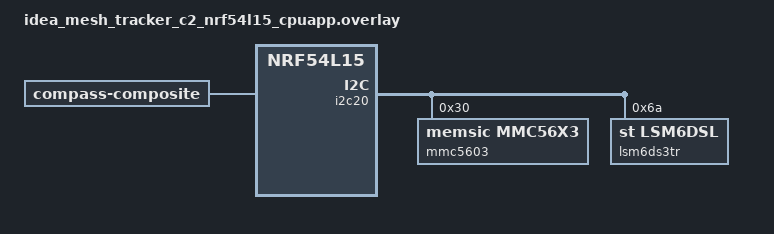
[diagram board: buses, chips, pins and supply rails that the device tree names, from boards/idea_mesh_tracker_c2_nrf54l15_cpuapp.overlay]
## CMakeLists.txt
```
# SPDX-FileCopyrightText: FoBE Studio
# SPDX-License-Identifier: Apache-2.0

cmake_minimum_required(VERSION 3.20.0)

find_package(Zephyr REQUIRED HINTS $ENV{ZEPHYR_BASE})
project(compass_composite)

FILE(GLOB app_sources src/*.c)
target_sources(app PRIVATE ${app_sources})
```

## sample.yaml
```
# SPDX-FileCopyrightText: FoBE Studio
# SPDX-License-Identifier: Apache-2.0

sample:
  name: compass_composite
  description: Compass composite sensor sample
common:
  tags:
    - sensor
    - compass_composite
  harness: keyboard
tests:
  sample.drivers.sensor.composite.compass_composite:
    integration_platforms:
      - mesh_probe_r2/nrf54l15/cpuapp
```

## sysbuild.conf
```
# SPDX-FileCopyrightText: FoBE Studio
# SPDX-License-Identifier: Apache-2.0

SB_CONFIG_BOOTLOADER_MCUBOOT=y
SB_CONFIG_MERGED_HEX_FILES=y
SB_CONFIG_MCUBOOT_MODE_SINGLE_APP=y
SB_CONFIG_BOOT_SIGNATURE_TYPE_NONE=y
```

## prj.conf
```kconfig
# SPDX-FileCopyrightText: FoBE Studio
# SPDX-License-Identifier: Apache-2.0

# Logging
CONFIG_LOG=y
CONFIG_LOG_MODE_IMMEDIATE=y

# This sample performs sensor fusion + frequent logging in main thread.
# Increase main stack to avoid runtime stack overflow on smaller defaults.
CONFIG_MAIN_STACK_SIZE=4096

# Sensor framework
CONFIG_SHELL=y
CONFIG_SHELL_STACK_SIZE=4096
CONFIG_SENSOR_SHELL=y
CONFIG_SENSOR=y
CONFIG_COMPASS_COMPOSITE=y

CONFIG_SENSOR_LOG_LEVEL_DBG=y
```

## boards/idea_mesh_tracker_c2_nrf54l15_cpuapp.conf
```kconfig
# Peripherals
CONFIG_GPIO=y
CONFIG_I2C=y

# Power Management
CONFIG_PM_DEVICE=y
CONFIG_PM_DEVICE_RUNTIME=y
CONFIG_POWER_DOMAIN=y
CONFIG_PM_DEVICE_POWER_DOMAIN=y
CONFIG_PM_DEVICE_RUNTIME_ASYNC=y

# Preserve the provisioned MCUboot image and place this sample in slot0.
CONFIG_BOOTLOADER_MCUBOOT=y
CONFIG_MCUBOOT_GENERATE_UNSIGNED_IMAGE=y
CONFIG_MCUBOOT_BOOTLOADER_MODE_SINGLE_APP=y

# Match the 50 Hz MMC5603 stream (LSM6DSL value index: 3 => 52 Hz).
CONFIG_LSM6DSL_ACCEL_ODR=3
CONFIG_LSM6DSL_GYRO_ODR=3
```

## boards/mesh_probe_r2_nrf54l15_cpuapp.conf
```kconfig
# SPDX-FileCopyrightText: FoBE Studio
# SPDX-License-Identifier: Apache-2.0

# Peripherals
CONFIG_GPIO=y
CONFIG_I2C=y

# Power Management
CONFIG_PM_DEVICE=y
CONFIG_PM_DEVICE_RUNTIME=y
CONFIG_POWER_DOMAIN=y
CONFIG_PM_DEVICE_POWER_DOMAIN=y
CONFIG_PM_DEVICE_RUNTIME_ASYNC=y

# Preserve the provisioned MCUboot image and place this sample in slot0.
CONFIG_BOOTLOADER_MCUBOOT=y
CONFIG_MCUBOOT_GENERATE_UNSIGNED_IMAGE=y
CONFIG_MCUBOOT_BOOTLOADER_MODE_SINGLE_APP=y

# Match the 50 Hz MMC5603 stream (LSM6DSL value index: 3 => 52 Hz).
CONFIG_LSM6DSL_ACCEL_ODR=3
CONFIG_LSM6DSL_GYRO_ODR=3
```

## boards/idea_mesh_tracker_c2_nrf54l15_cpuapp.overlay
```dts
/*
 * Copyright (c) 2026 FoBE Studio
 *
 * SPDX-License-Identifier: Apache-2.0
 */

#include <dt-bindings/sensor/sensor_channel.h>

/ {
	compass: compass {
		compatible = "zephyr,compass-composite";
		accel-source = <&lsm6ds3tr>;
		gyro-source = <&lsm6ds3tr>;
		magn-source = <&mmc5603>;
		accel-channel = <SENSOR_CHAN_ACCEL_XYZ>;
		gyro-channel = <SENSOR_CHAN_GYRO_XYZ>;
		magn-channel = <SENSOR_CHAN_MAGN_XYZ>;
		declination-milli-deg = <0>;
		gyro-fusion-alpha-milli = <400>;
		/* C2 FLU frame: +X front, +Y left, +Z up; both sensors are on the back. */
		accel-axis-remap = <1 0 2>;
		accel-axis-sign = <1 1 (-1)>;
		magn-axis-remap = <1 0 2>;
		magn-axis-sign = <1 1 (-1)>;
		status = "okay";
	};
};

&i2c20 {
	mmc5603: mmc5603@30 {
		compatible = "memsic,mmc56x3";
		reg = <0x30>;
		magn-odr = <0>;
		auto-self-reset;
		power-domains = <&peripheral_power>;
	};

	lsm6ds3tr: lsm6ds3tr@6a {
		compatible = "st,lsm6dsl";
		reg = <0x6a>;
		power-domains = <&peripheral_power>;
	};
};

/* Match the C2 mbs_client/MCUboot flash-map ABI. */
&cpuapp_rram {
	/delete-node/ partitions;

	partitions {
		compatible = "fixed-partitions";
		#address-cells = <1>;
		#size-cells = <1>;
		ranges;

		boot_partition: partition@0 {
			label = "mcuboot";
			reg = <0x0 DT_SIZE_K(128)>;
		};

		slot0_partition: partition@20000 {
			label = "image-0";
			reg = <0x20000 DT_SIZE_K(1024)>;
		};

		storage_partition: partition@120000 {
			label = "storage";
			reg = <0x120000 DT_SIZE_K(128)>;
		};

		extra_partition: partition@140000 {
			label = "extra";
			reg = <0x140000 DT_SIZE_K(148)>;
		};
	};
};
```

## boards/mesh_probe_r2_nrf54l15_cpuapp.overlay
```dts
/*
 * Copyright (c) 2026 FoBE Studio
 *
 * SPDX-License-Identifier: Apache-2.0
 */

#include <dt-bindings/sensor/sensor_channel.h>

/ {
	compass: compass {
		compatible = "zephyr,compass-composite";
		accel-source = <&lsm6ds3tr>;
		gyro-source = <&lsm6ds3tr>;
		magn-source = <&mmc5603>;
		accel-channel = <SENSOR_CHAN_ACCEL_XYZ>;
		gyro-channel = <SENSOR_CHAN_GYRO_XYZ>;
		magn-channel = <SENSOR_CHAN_MAGN_XYZ>;
		declination-milli-deg = <0>;
		gyro-fusion-alpha-milli = <400>;
		/* Mesh Probe R2 FLU frame: +X front, +Y left, +Z up; both sensors are on the back. */
		accel-axis-remap = <1 0 2>;
		accel-axis-sign = <1 1 (-1)>;
		magn-axis-remap = <1 0 2>;
		magn-axis-sign = <1 1 (-1)>;
		status = "okay";
	};
};

&i2c20 {
	mmc5603: mmc5603@30 {
		compatible = "memsic,mmc56x3";
		reg = <0x30>;
		magn-odr = <0>;
		auto-self-reset;
		power-domains = <&peripheral_power>;
	};

	lsm6ds3tr: lsm6ds3tr@6a {
		compatible = "st,lsm6dsl";
		reg = <0x6a>;
		power-domains = <&peripheral_power>;
	};
};

/* Match the Mesh Probe R2 mbs_client/MCUboot flash-map ABI. */
&cpuapp_rram {
	/delete-node/ partitions;

	partitions {
		compatible = "fixed-partitions";
		#address-cells = <1>;
		#size-cells = <1>;
		ranges;

		boot_partition: partition@0 {
			label = "mcuboot";
			reg = <0x0 DT_SIZE_K(128)>;
		};

		slot0_partition: partition@20000 {
			label = "image-0";
			reg = <0x20000 DT_SIZE_K(1024)>;
		};

		storage_partition: partition@120000 {
			label = "storage";
			reg = <0x120000 DT_SIZE_K(128)>;
		};

		extra_partition: partition@140000 {
			label = "extra";
			reg = <0x140000 DT_SIZE_K(148)>;
		};
	};
};
```

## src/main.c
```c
/*
 * Copyright (c) 2026 FoBE Studio
 *
 * SPDX-License-Identifier: Apache-2.0
 */

#include <stdbool.h>
#include <stdint.h>

#include "compass_shell.h"

#include <zephyr/device.h>
#include <zephyr/devicetree.h>
#include <zephyr/drivers/sensor.h>
#include <drivers/sensor/compass_composite.h>
#include <zephyr/init.h>
#include <zephyr/kernel.h>
#include <zephyr/logging/log.h>
#include <zephyr/pm/device_runtime.h>
#include <zephyr/sys/printk.h>

LOG_MODULE_REGISTER(compass_composite_sample, LOG_LEVEL_INF);

#define COMPASS_NODE DT_NODELABEL(compass)
#define COMPASS_PD_NODE DT_NODELABEL(peripheral_power)

#if DT_NODE_HAS_STATUS(COMPASS_PD_NODE, okay) && defined(CONFIG_PM_DEVICE_RUNTIME)
#define COMPASS_PD_BOOTSTRAP_INIT_PRIORITY 80

static int compass_sample_power_bootstrap_init(void)
{
	const struct device *pd = DEVICE_DT_GET(COMPASS_PD_NODE);
	int rc;

	if (!device_is_ready(pd)) {
		return -ENODEV;
	}

	rc = pm_device_runtime_get(pd);
	if (rc < 0 && rc != -ENOTSUP && rc != -ENOSYS) {
		return rc;
	}

	return 0;
}

SYS_INIT(compass_sample_power_bootstrap_init, POST_KERNEL,
	 COMPASS_PD_BOOTSTRAP_INIT_PRIORITY);
#endif

#if !DT_NODE_HAS_STATUS(COMPASS_NODE, okay)
#error "No compass node found. Check board overlay for zephyr,compass-composite node label compass"
#endif

static const char *cal_hint_to_str(int32_t v)
{
	switch (v) {
	case COMPASS_CAL_HINT_NONE:
		return "none";
	case COMPASS_CAL_HINT_FIGURE_EIGHT:
		return "figure-8";
	case COMPASS_CAL_HINT_KEEP_LEVEL:
		return "keep-level";
	default:
		return "unknown";
	}
}

static const char *accuracy_to_str(int32_t v)
{
	switch (v) {
	case COMPASS_ACCURACY_UNRELIABLE:
		return "unreliable";
	case COMPASS_ACCURACY_LOW:
		return "low";
	case COMPASS_ACCURACY_MEDIUM:
		return "medium";
	case COMPASS_ACCURACY_HIGH:
		return "high";
	default:
		return "unknown";
	}
}

static void sensor_value_snprint(char *buf, size_t len, const struct sensor_value *v)
{
	int64_t micro = sensor_value_to_micro(v);
	bool neg = (micro < 0);
	uint64_t abs_micro = (uint64_t)(neg ? -micro : micro);

	uint64_t ip = abs_micro / 1000000ULL;
	uint64_t fp = abs_micro % 1000000ULL;

	(void)snprintk(buf, len, "%s%llu.%06llu", neg ? "-" : "", (unsigned long long)ip,
		       (unsigned long long)fp);
}

static void sensor_value_or_na_snprint(char *buf, size_t len, const struct sensor_value *v, int rc)
{
	if (rc == 0) {
		sensor_value_snprint(buf, len, v);
	} else {
		(void)snprintk(buf, len, "n/a");
	}
}

int main(void)
{
	const struct device *compass = DEVICE_DT_GET(COMPASS_NODE);
	const enum sensor_channel magn_axis_channels[3] = {
		SENSOR_CHAN_MAGN_X,
		SENSOR_CHAN_MAGN_Y,
		SENSOR_CHAN_MAGN_Z,
	};
	struct sensor_value heading = {0};
	struct sensor_value declination = {0};
	struct sensor_value mount_offset = {0};
	struct sensor_value fusion_alpha = {0};
	struct sensor_value cal_hint = {0};
	struct sensor_value accuracy = {0};
	struct sensor_value bias[3] = {0};
	struct sensor_value scale[3] = {0};
	struct sensor_value bias_est[3] = {0};
	struct sensor_value scale_est[3] = {0};
	int bias_est_rc[3] = {0};
	int scale_est_rc[3] = {0};
	char heading_buf[24];
	char decl_buf[24];
	char mount_buf[24];
	char alpha_buf[24];
	char bias_buf[3][24];
	char scale_buf[3][24];
	char bias_est_buf[3][24];
	char scale_est_buf[3][24];
	uint32_t sleep_ms;
	int rc;

	LOG_INF("Compass composite sample started");
	LOG_INF("Build timestamp: " __DATE__ " " __TIME__);

	if (!device_is_ready(compass)) {
		LOG_ERR("Compass device not ready: %s", compass->name);
		return -ENODEV;
	}

	compass_sample_shell_bind_device(compass);
	LOG_INF("Compass device ready: %s", compass->name);
	LOG_INF("Shell commands: compass show | compass reset all | compass set ... | "
		"compass stream on <ms>");

	while (1) {
		if (!compass_sample_stream_enabled_get()) {
			k_sleep(K_MSEC(100));
			continue;
		}

		rc = sensor_sample_fetch(compass);
		if (rc != 0) {
			LOG_ERR("sample_fetch failed: %d", rc);
			k_sleep(K_SECONDS(1));
			continue;
		}

		rc = sensor_channel_get(compass, SENSOR_CHAN_COMPASS_HEADING, &heading);
		if (rc != 0) {
			LOG_ERR("heading get failed: %d", rc);
			k_sleep(K_SECONDS(1));
			continue;
		}

		(void)sensor_attr_get(compass, SENSOR_CHAN_COMPASS_HEADING,
				     SENSOR_ATTR_COMPASS_DECLINATION, &declination);
		(void)sensor_attr_get(compass, SENSOR_CHAN_COMPASS_HEADING,
				     SENSOR_ATTR_COMPASS_MOUNT_OFFSET, &mount_offset);
		(void)sensor_attr_get(compass, SENSOR_CHAN_COMPASS_HEADING,
				     SENSOR_ATTR_COMPASS_FUSION_ALPHA, &fusion_alpha);

		rc = sensor_attr_get(compass, SENSOR_CHAN_COMPASS_HEADING,
				     SENSOR_ATTR_COMPASS_CAL_HINT, &cal_hint);
		if (rc != 0) {
			cal_hint.val1 = -1;
			cal_hint.val2 = 0;
		}

		rc = sensor_attr_get(compass, SENSOR_CHAN_COMPASS_HEADING,
				     SENSOR_ATTR_COMPASS_ACCURACY, &accuracy);
		if (rc != 0) {
			accuracy.val1 = -1;
			accuracy.val2 = 0;
		}

		for (int i = 0; i < 3; i++) {
			enum sensor_channel channel = magn_axis_channels[i];

			(void)sensor_attr_get(compass, channel, SENSOR_ATTR_COMPASS_MAG_BIAS, &bias[i]);
			(void)sensor_attr_get(compass, channel, SENSOR_ATTR_COMPASS_MAG_SCALE, &scale[i]);
			bias_est_rc[i] =
				sensor_attr_get(compass, channel, SENSOR_ATTR_COMPASS_MAG_BIAS_EST, &bias_est[i]);
			scale_est_rc[i] =
				sensor_attr_get(compass, channel, SENSOR_ATTR_COMPASS_MAG_SCALE_EST,
						&scale_est[i]);
		}

		sensor_value_snprint(heading_buf, sizeof(heading_buf), &heading);
		sensor_value_snprint(decl_buf, sizeof(decl_buf), &declination);
		sensor_value_snprint(mount_buf, sizeof(mount_buf), &mount_offset);
		sensor_value_snprint(alpha_buf, sizeof(alpha_buf), &fusion_alpha);

		for (int i = 0; i < 3; i++) {
			sensor_value_snprint(bias_buf[i], sizeof(bias_buf[i]), &bias[i]);
			sensor_value_snprint(scale_buf[i], sizeof(scale_buf[i]), &scale[i]);
			sensor_value_or_na_snprint(bias_est_buf[i], sizeof(bias_est_buf[i]), &bias_est[i],
						  bias_est_rc[i]);
			sensor_value_or_na_snprint(scale_est_buf[i], sizeof(scale_est_buf[i]), &scale_est[i],
						   scale_est_rc[i]);
		}

		LOG_INF("heading=%s deg decl=%s deg mount=%s deg alpha=%s hint=%s(%d) accuracy=%s(%d) "
			"bias=[%s,%s,%s] scale=[%s,%s,%s] est_bias=[%s,%s,%s] est_scale=[%s,%s,%s]",
			heading_buf,
			decl_buf,
			mount_buf,
			alpha_buf,
			cal_hint_to_str(cal_hint.val1),
			cal_hint.val1,
			accuracy_to_str(accuracy.val1),
			accuracy.val1,
			bias_buf[0], bias_buf[1], bias_buf[2],
			scale_buf[0], scale_buf[1], scale_buf[2],
			bias_est_buf[0], bias_est_buf[1], bias_est_buf[2],
			scale_est_buf[0], scale_est_buf[1], scale_est_buf[2]);

		sleep_ms = compass_sample_stream_interval_ms_get();
		k_sleep(K_MSEC(sleep_ms));
	}

	return 0;
}
```

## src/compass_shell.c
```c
/*
 * Copyright (c) 2026 FoBE Studio
 *
 * SPDX-License-Identifier: Apache-2.0
 */

#include "compass_shell.h"

#include <errno.h>
#include <stdbool.h>
#include <stdlib.h>
#include <string.h>

#include <zephyr/devicetree.h>
#include <zephyr/drivers/sensor.h>
#include <drivers/sensor/compass_composite.h>
#include <zephyr/kernel.h>
#include <zephyr/sys/atomic.h>
#include <zephyr/sys/printk.h>
#include <zephyr/sys/util.h>

#if defined(CONFIG_SHELL)
#include <zephyr/shell/shell.h>
#endif

#define COMPASS_NODE DT_NODELABEL(compass)

#if !DT_NODE_HAS_STATUS(COMPASS_NODE, okay)
#error "No compass node found. Check board overlay for zephyr,compass-composite node label compass"
#endif

#define COMPASS_STREAM_INTERVAL_MS_DEFAULT 100U
#define COMPASS_STREAM_INTERVAL_MS_MIN     20U
#define COMPASS_STREAM_INTERVAL_MS_MAX     5000U

static const struct device *compass_shell_dev;
static atomic_t compass_stream_enabled = ATOMIC_INIT(1);
static atomic_t compass_stream_interval_ms =
	ATOMIC_INIT(COMPASS_STREAM_INTERVAL_MS_DEFAULT);

void compass_sample_shell_bind_device(const struct device *dev)
{
	compass_shell_dev = dev;
}

bool compass_sample_stream_enabled_get(void)
{
	return atomic_get(&compass_stream_enabled) != 0;
}

uint32_t compass_sample_stream_interval_ms_get(void)
{
	int32_t interval = atomic_get(&compass_stream_interval_ms);

	if (interval <= 0) {
		return COMPASS_STREAM_INTERVAL_MS_DEFAULT;
	}

	return (uint32_t)interval;
}

#if defined(CONFIG_SHELL)

struct compass_snapshot {
	struct sensor_value heading;
	struct sensor_value declination;
	struct sensor_value mount_offset;
	struct sensor_value fusion_alpha;
	struct sensor_value cal_hint;
	struct sensor_value accuracy;
	struct sensor_value bias[3];
	struct sensor_value scale[3];
	struct sensor_value bias_est[3];
	struct sensor_value scale_est[3];
	int bias_est_rc[3];
	int scale_est_rc[3];
};

static const char *cal_hint_to_str(int32_t v)
{
	switch (v) {
	case COMPASS_CAL_HINT_NONE:
		return "none";
	case COMPASS_CAL_HINT_FIGURE_EIGHT:
		return "figure-8";
	case COMPASS_CAL_HINT_KEEP_LEVEL:
		return "keep-level";
	default:
		return "unknown";
	}
}

static const char *accuracy_to_str(int32_t v)
{
	switch (v) {
	case COMPASS_ACCURACY_UNRELIABLE:
		return "unreliable";
	case COMPASS_ACCURACY_LOW:
		return "low";
	case COMPASS_ACCURACY_MEDIUM:
		return "medium";
	case COMPASS_ACCURACY_HIGH:
		return "high";
	default:
		return "unknown";
	}
}

static const struct device *compass_resolve_device(void)
{
	const struct device *dev = compass_shell_dev;

	if (dev == NULL) {
		dev = DEVICE_DT_GET(COMPASS_NODE);
	}

	if (!device_is_ready(dev)) {
		return NULL;
	}

	return dev;
}

static enum sensor_channel axis_to_channel(int axis)
{
	static const enum sensor_channel channels[3] = {
		SENSOR_CHAN_MAGN_X,
		SENSOR_CHAN_MAGN_Y,
		SENSOR_CHAN_MAGN_Z,
	};

	return channels[axis];
}

static int parse_axis(const char *axis_str)
{
	if ((axis_str == NULL) || (strlen(axis_str) != 1U)) {
		return -EINVAL;
	}

	switch (axis_str[0]) {
	case 'x':
	case 'X':
		return 0;
	case 'y':
	case 'Y':
		return 1;
	case 'z':
	case 'Z':
		return 2;
	default:
		return -EINVAL;
	}
}

static int parse_double_arg(const char *str, double *out)
{
	char *endptr;
	double value;

	if ((str == NULL) || (out == NULL)) {
		return -EINVAL;
	}

	value = strtod(str, &endptr);
	if ((endptr == str) || (*endptr != '\0')) {
		return -EINVAL;
	}

	*out = value;
	return 0;
}

static int set_heading_attr_from_double(const struct device *dev, enum sensor_attribute attr,
					double value)
{
	struct sensor_value sensor_val = {0};
	int rc;

	rc = sensor_value_from_double(&sensor_val, value);
	if (rc != 0) {
		return rc;
	}

	return sensor_attr_set(dev, SENSOR_CHAN_COMPASS_HEADING, attr, &sensor_val);
}

static int set_magn_attr_from_double(const struct device *dev, enum sensor_attribute attr, int axis,
				     double value)
{
	struct sensor_value sensor_val = {0};
	int rc;

	rc = sensor_value_from_double(&sensor_val, value);
	if (rc != 0) {
		return rc;
	}

	return sensor_attr_set(dev, axis_to_channel(axis), attr, &sensor_val);
}

static void sensor_value_snprint(char *buf, size_t len, const struct sensor_value *v)
{
	int64_t micro = sensor_value_to_micro(v);
	bool neg = (micro < 0);
	uint64_t abs_micro = (uint64_t)(neg ? -micro : micro);
	uint64_t ip = abs_micro / 1000000ULL;
	uint64_t fp = abs_micro % 1000000ULL;

	(void)snprintk(buf, len, "%s%llu.%06llu", neg ? "-" : "", (unsigned long long)ip,
		       (unsigned long long)fp);
}

static void sensor_value_or_na_snprint(char *buf, size_t len, const struct sensor_value *v, int rc)
{
	if (rc == 0) {
		sensor_value_snprint(buf, len, v);
	} else {
		(void)snprintk(buf, len, "n/a");
	}
}

static int compass_read_snapshot(const struct device *dev, struct compass_snapshot *snap,
				 bool fetch_sample)
{
	int rc;

	if ((dev == NULL) || (snap == NULL)) {
		return -EINVAL;
	}

	if (fetch_sample) {
		rc = sensor_sample_fetch(dev);
		if (rc != 0) {
			return rc;
		}
	}

	rc = sensor_channel_get(dev, SENSOR_CHAN_COMPASS_HEADING, &snap->heading);
	if (rc != 0) {
		return rc;
	}

	rc = sensor_attr_get(dev, SENSOR_CHAN_COMPASS_HEADING,
			     SENSOR_ATTR_COMPASS_DECLINATION, &snap->declination);
	if (rc != 0) {
		return rc;
	}

	rc = sensor_attr_get(dev, SENSOR_CHAN_COMPASS_HEADING,
			     SENSOR_ATTR_COMPASS_MOUNT_OFFSET, &snap->mount_offset);
	if (rc != 0) {
		return rc;
	}

	rc = sensor_attr_get(dev, SENSOR_CHAN_COMPASS_HEADING,
			     SENSOR_ATTR_COMPASS_FUSION_ALPHA, &snap->fusion_alpha);
	if (rc != 0) {
		return rc;
	}

	rc = sensor_attr_get(dev, SENSOR_CHAN_COMPASS_HEADING,
			     SENSOR_ATTR_COMPASS_CAL_HINT, &snap->cal_hint);
	if (rc != 0) {
		return rc;
	}

	rc = sensor_attr_get(dev, SENSOR_CHAN_COMPASS_HEADING,
			     SENSOR_ATTR_COMPASS_ACCURACY, &snap->accuracy);
	if (rc != 0) {
		return rc;
	}

	for (int i = 0; i < 3; i++) {
		enum sensor_channel channel = axis_to_channel(i);

		rc = sensor_attr_get(dev, channel, SENSOR_ATTR_COMPASS_MAG_BIAS, &snap->bias[i]);
		if (rc != 0) {
			return rc;
		}

		rc = sensor_attr_get(dev, channel, SENSOR_ATTR_COMPASS_MAG_SCALE, &snap->scale[i]);
		if (rc != 0) {
			return rc;
		}

		snap->bias_est_rc[i] = sensor_attr_get(dev, channel, SENSOR_ATTR_COMPASS_MAG_BIAS_EST,
						      &snap->bias_est[i]);
		snap->scale_est_rc[i] = sensor_attr_get(dev, channel, SENSOR_ATTR_COMPASS_MAG_SCALE_EST,
						       &snap->scale_est[i]);
	}

	return 0;
}

static void compass_print_snapshot(const struct shell *sh, const struct compass_snapshot *snap)
{
	char heading_buf[24];
	char decl_buf[24];
	char mount_buf[24];
	char alpha_buf[24];
	char bias_buf[3][24];
	char scale_buf[3][24];
	char bias_est_buf[3][24];
	char scale_est_buf[3][24];

	sensor_value_snprint(heading_buf, sizeof(heading_buf), &snap->heading);
	sensor_value_snprint(decl_buf, sizeof(decl_buf), &snap->declination);
	sensor_value_snprint(mount_buf, sizeof(mount_buf), &snap->mount_offset);
	sensor_value_snprint(alpha_buf, sizeof(alpha_buf), &snap->fusion_alpha);

	for (int i = 0; i < 3; i++) {
		sensor_value_snprint(bias_buf[i], sizeof(bias_buf[i]), &snap->bias[i]);
		sensor_value_snprint(scale_buf[i], sizeof(scale_buf[i]), &snap->scale[i]);
		sensor_value_or_na_snprint(bias_est_buf[i], sizeof(bias_est_buf[i]), &snap->bias_est[i],
					  snap->bias_est_rc[i]);
		sensor_value_or_na_snprint(scale_est_buf[i], sizeof(scale_est_buf[i]), &snap->scale_est[i],
					   snap->scale_est_rc[i]);
	}

	shell_print(sh,
		    "heading=%s deg decl=%s deg mount=%s deg alpha=%s hint=%s(%d) accuracy=%s(%d)",
		    heading_buf, decl_buf, mount_buf, alpha_buf,
		    cal_hint_to_str(snap->cal_hint.val1), snap->cal_hint.val1,
		    accuracy_to_str(snap->accuracy.val1), snap->accuracy.val1);
	shell_print(sh,
		    "active_bias=[%s %s %s] active_scale=[%s %s %s]",
		    bias_buf[0], bias_buf[1], bias_buf[2],
		    scale_buf[0], scale_buf[1], scale_buf[2]);
	shell_print(sh,
		    "est_bias=[%s %s %s] est_scale=[%s %s %s]",
		    bias_est_buf[0], bias_est_buf[1], bias_est_buf[2],
		    scale_est_buf[0], scale_est_buf[1], scale_est_buf[2]);
}

static int cmd_compass_show(const struct shell *sh, size_t argc, char **argv)
{
	const struct device *dev = compass_resolve_device();
	struct compass_snapshot snap = {0};
	int rc;

	ARG_UNUSED(argc);
	ARG_UNUSED(argv);

	if (dev == NULL) {
		shell_error(sh, "Compass device not ready");
		return -ENODEV;
	}

	rc = compass_read_snapshot(dev, &snap, true);
	if (rc != 0) {
		shell_error(sh, "Failed to read compass snapshot: %d", rc);
		return rc;
	}

	compass_print_snapshot(sh, &snap);
	shell_print(sh, "stream=%s interval_ms=%u",
		    compass_sample_stream_enabled_get() ? "on" : "off",
		    compass_sample_stream_interval_ms_get());

	return 0;
}

static int cmd_compass_dump(const struct shell *sh, size_t argc, char **argv)
{
	const struct device *dev = compass_resolve_device();
	struct compass_snapshot snap = {0};
	int rc;

	ARG_UNUSED(argc);
	ARG_UNUSED(argv);

	if (dev == NULL) {
		shell_error(sh, "Compass device not ready");
		return -ENODEV;
	}

	rc = compass_read_snapshot(dev, &snap, true);
	if (rc != 0) {
		shell_error(sh, "Failed to read compass snapshot: %d", rc);
		return rc;
	}

	shell_print(sh, "# Replay current runtime tuning:");
	shell_print(sh, "compass set decl %.6f", sensor_value_to_double(&snap.declination));
	shell_print(sh, "compass set mount %.6f", sensor_value_to_double(&snap.mount_offset));
	shell_print(sh, "compass set alpha %.6f", sensor_value_to_double(&snap.fusion_alpha));
	for (int i = 0; i < 3; i++) {
		char axis_name = (i == 0) ? 'x' : (i == 1) ? 'y' : 'z';
		bool estimate_available =
			snap.bias_est_rc[i] == 0 && snap.scale_est_rc[i] == 0;
		bool active_non_default = sensor_value_to_micro(&snap.bias[i]) != 0 ||
					  sensor_value_to_micro(&snap.scale[i]) != 1000000LL;

		if (!estimate_available && !active_non_default) {
			shell_print(sh, "# axis %c has no estimate; replay omitted", axis_name);
			continue;
		}

		shell_print(sh, "compass set bias %c %.6f", axis_name,
			    sensor_value_to_double(&snap.bias[i]));
		shell_print(sh, "compass set scale %c %.6f", axis_name,
			    sensor_value_to_double(&snap.scale[i]));
	}

	return 0;
}

static int cmd_compass_stream_on(const struct shell *sh, size_t argc, char **argv)
{
	char *endptr;
	unsigned long parsed;

	if (argc != 2U) {
		shell_error(sh, "Usage: compass stream on <ms>");
		return -EINVAL;
	}

	parsed = strtoul(argv[1], &endptr, 0);
	if ((endptr == argv[1]) || (*endptr != '\0')) {
		shell_error(sh, "Invalid interval: %s", argv[1]);
		return -EINVAL;
	}

	parsed = CLAMP(parsed, COMPASS_STREAM_INTERVAL_MS_MIN, COMPASS_STREAM_INTERVAL_MS_MAX);
	atomic_set(&compass_stream_interval_ms, (atomic_val_t)parsed);
	atomic_set(&compass_stream_enabled, 1);

	shell_print(sh, "stream=on interval_ms=%lu", parsed);
	return 0;
}

static int cmd_compass_stream_off(const struct shell *sh, size_t argc, char **argv)
{
	ARG_UNUSED(argc);
	ARG_UNUSED(argv);

	atomic_set(&compass_stream_enabled, 0);
	shell_print(sh, "stream=off");

	return 0;
}

static int cmd_compass_set_decl(const struct shell *sh, size_t argc, char **argv)
{
	const struct device *dev = compass_resolve_device();
	double value;
	int rc;

	if (argc != 2U) {
		shell_error(sh, "Usage: compass set decl <deg>");
		return -EINVAL;
	}
	if (dev == NULL) {
		shell_error(sh, "Compass device not ready");
		return -ENODEV;
	}
	if (parse_double_arg(argv[1], &value) != 0) {
		shell_error(sh, "Invalid value: %s", argv[1]);
		return -EINVAL;
	}

	rc = set_heading_attr_from_double(dev, SENSOR_ATTR_COMPASS_DECLINATION, value);
	if (rc != 0) {
		shell_error(sh, "Failed to set declination: %d", rc);
		return rc;
	}

	shell_print(sh, "declination set to %.6f deg", value);
	return 0;
}

static int cmd_compass_set_mount(const struct shell *sh, size_t argc, char **argv)
{
	const struct device *dev = compass_resolve_device();
	double value;
	int rc;

	if (argc != 2U) {
		shell_error(sh, "Usage: compass set mount <deg>");
		return -EINVAL;
	}
	if (dev == NULL) {
		shell_error(sh, "Compass device not ready");
		return -ENODEV;
	}
	if (parse_double_arg(argv[1], &value) != 0) {
		shell_error(sh, "Invalid value: %s", argv[1]);
		return -EINVAL;
	}

	rc = set_heading_attr_from_double(dev, SENSOR_ATTR_COMPASS_MOUNT_OFFSET, value);
	if (rc != 0) {
		shell_error(sh, "Failed to set mount offset: %d", rc);
		return rc;
	}

	shell_print(sh, "mount offset set to %.6f deg", value);
	return 0;
}

static int cmd_compass_set_alpha(const struct shell *sh, size_t argc, char **argv)
{
	const struct device *dev = compass_resolve_device();
	double value;
	int rc;

	if (argc != 2U) {
		shell_error(sh, "Usage: compass set alpha <0..1>");
		return -EINVAL;
	}
	if (dev == NULL) {
		shell_error(sh, "Compass device not ready");
		return -ENODEV;
	}
	if (parse_double_arg(argv[1], &value) != 0) {
		shell_error(sh, "Invalid value: %s", argv[1]);
		return -EINVAL;
	}

	rc = set_heading_attr_from_double(dev, SENSOR_ATTR_COMPASS_FUSION_ALPHA, value);
	if (rc != 0) {
		shell_error(sh, "Failed to set fusion alpha: %d", rc);
		return rc;
	}

	shell_print(sh, "fusion alpha set to %.6f", value);
	return 0;
}

static int cmd_compass_set_bias(const struct shell *sh, size_t argc, char **argv)
{
	const struct device *dev = compass_resolve_device();
	double value;
	int axis;
	int rc;

	if (argc != 3U) {
		shell_error(sh, "Usage: compass set bias <x|y|z> <gauss>");
		return -EINVAL;
	}
	if (dev == NULL) {
		shell_error(sh, "Compass device not ready");
		return -ENODEV;
	}
	axis = parse_axis(argv[1]);
	if (axis < 0) {
		shell_error(sh, "Invalid axis: %s", argv[1]);
		return -EINVAL;
	}
	if (parse_double_arg(argv[2], &value) != 0) {
		shell_error(sh, "Invalid value: %s", argv[2]);
		return -EINVAL;
	}

	rc = set_magn_attr_from_double(dev, SENSOR_ATTR_COMPASS_MAG_BIAS, axis, value);
	if (rc != 0) {
		shell_error(sh, "Failed to set magnet bias: %d", rc);
		return rc;
	}

	shell_print(sh, "mag bias %s set to %.6f", argv[1], value);
	return 0;
}

static int cmd_compass_set_scale(const struct shell *sh, size_t argc, char **argv)
{
	const struct device *dev = compass_resolve_device();
	double value;
	int axis;
	int rc;

	if (argc != 3U) {
		shell_error(sh, "Usage: compass set scale <x|y|z> <ratio>");
		return -EINVAL;
	}
	if (dev == NULL) {
		shell_error(sh, "Compass device not ready");
		return -ENODEV;
	}
	axis = parse_axis(argv[1]);
	if (axis < 0) {
		shell_error(sh, "Invalid axis: %s", argv[1]);
		return -EINVAL;
	}
	if (parse_double_arg(argv[2], &value) != 0) {
		shell_error(sh, "Invalid value: %s", argv[2]);
		return -EINVAL;
	}

	rc = set_magn_attr_from_double(dev, SENSOR_ATTR_COMPASS_MAG_SCALE, axis, value);
	if (rc != 0) {
		shell_error(sh, "Failed to set magnet scale: %d", rc);
		return rc;
	}

	shell_print(sh, "mag scale %s set to %.6f", argv[1], value);
	return 0;
}

static int cmd_compass_clear(const struct shell *sh, size_t argc, char **argv)
{
	const struct device *dev = compass_resolve_device();
	int axis;
	int rc;

	if (argc != 2U) {
		shell_error(sh, "Usage: compass clear <x|y|z>");
		return -EINVAL;
	}
	if (dev == NULL) {
		shell_error(sh, "Compass device not ready");
		return -ENODEV;
	}
	axis = parse_axis(argv[1]);
	if (axis < 0) {
		shell_error(sh, "Invalid axis: %s", argv[1]);
		return -EINVAL;
	}

	rc = set_magn_attr_from_double(dev, SENSOR_ATTR_COMPASS_MAG_SCALE, axis, 0.0);
	if (rc != 0) {
		shell_error(sh, "Failed to clear axis override: %d", rc);
		return rc;
	}

	shell_print(sh, "mag override cleared for axis %s", argv[1]);
	return 0;
}

static int cmd_compass_reset(const struct shell *sh, size_t argc, char **argv)
{
	const struct device *dev = compass_resolve_device();
	struct sensor_value trigger = {.val1 = 1};
	bool clear_manual = false;
	int rc;

	if (argc == 2U) {
		if (strcmp(argv[1], "all") != 0) {
			shell_error(sh, "Usage: compass reset [all]");
			return -EINVAL;
		}
		clear_manual = true;
	}
	if (dev == NULL) {
		shell_error(sh, "Compass device not ready");
		return -ENODEV;
	}

	if (clear_manual) {
		for (int axis = 0; axis < 3; axis++) {
			rc = set_magn_attr_from_double(dev, SENSOR_ATTR_COMPASS_MAG_SCALE, axis,
						       0.0);
			if (rc != 0) {
				shell_error(sh, "Failed to clear axis %d override: %d", axis, rc);
				return rc;
			}
		}
	}

	rc = sensor_attr_set(dev, SENSOR_CHAN_COMPASS_HEADING, SENSOR_ATTR_COMPASS_CAL_RESET,
			     &trigger);
	if (rc != 0) {
		shell_error(sh, "Failed to reset runtime calibration: %d", rc);
		return rc;
	}

	shell_print(sh, "runtime calibration reset; manual overrides %s",
		    clear_manual ? "cleared" : "preserved");
	shell_print(sh, "move the board through a slow 3D figure-eight until accuracy=high");

	return 0;
}

SHELL_STATIC_SUBCMD_SET_CREATE(
	compass_set_subcmds,
	SHELL_CMD_ARG(decl, NULL, "Set declination in degrees", cmd_compass_set_decl, 2, 0),
	SHELL_CMD_ARG(mount, NULL, "Set mounting yaw offset in degrees", cmd_compass_set_mount, 2, 0),
	SHELL_CMD_ARG(alpha, NULL, "Set fusion alpha in [0, 1]", cmd_compass_set_alpha, 2, 0),
	SHELL_CMD_ARG(bias, NULL, "Set manual magnet bias: <x|y|z> <gauss>",
		      cmd_compass_set_bias, 3, 0),
	SHELL_CMD_ARG(scale, NULL, "Set manual magnet scale: <x|y|z> <ratio>",
		      cmd_compass_set_scale, 3, 0),
	SHELL_SUBCMD_SET_END
);

SHELL_STATIC_SUBCMD_SET_CREATE(
	compass_stream_subcmds,
	SHELL_CMD_ARG(on, NULL, "Enable periodic logging: on <ms>", cmd_compass_stream_on, 2, 0),
	SHELL_CMD(off, NULL, "Disable periodic logging", cmd_compass_stream_off),
	SHELL_SUBCMD_SET_END
);

SHELL_STATIC_SUBCMD_SET_CREATE(
	compass_subcmds,
	SHELL_CMD(show, NULL, "Fetch and print a compass snapshot", cmd_compass_show),
	SHELL_CMD(dump, NULL, "Print shell commands that recreate current runtime tuning",
		  cmd_compass_dump),
	SHELL_CMD(stream, &compass_stream_subcmds, "Control periodic logging", NULL),
	SHELL_CMD(set, &compass_set_subcmds, "Set runtime compass attributes", NULL),
	SHELL_CMD_ARG(reset, NULL, "Reset calibration; optional 'all' clears manual overrides",
		      cmd_compass_reset, 1, 1),
	SHELL_CMD_ARG(clear, NULL, "Clear manual magnet override for axis: <x|y|z>",
		      cmd_compass_clear, 2, 0),
	SHELL_SUBCMD_SET_END
);

SHELL_CMD_REGISTER(compass, &compass_subcmds, "Compass composite sample commands", NULL);

#endif /* CONFIG_SHELL */
```

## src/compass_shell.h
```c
/*
 * Copyright (c) 2026 FoBE Studio
 *
 * SPDX-License-Identifier: Apache-2.0
 */

#ifndef FOBE_SAMPLES_DRIVERS_SENSOR_COMPOSITE_COMPASS_SHELL_H_
#define FOBE_SAMPLES_DRIVERS_SENSOR_COMPOSITE_COMPASS_SHELL_H_

#include <stdbool.h>
#include <stdint.h>

#include <zephyr/device.h>

#ifdef __cplusplus
extern "C" {
#endif

void compass_sample_shell_bind_device(const struct device *dev);
bool compass_sample_stream_enabled_get(void);
uint32_t compass_sample_stream_interval_ms_get(void);

#ifdef __cplusplus
}
#endif

#endif /* FOBE_SAMPLES_DRIVERS_SENSOR_COMPOSITE_COMPASS_SHELL_H_ */
```
